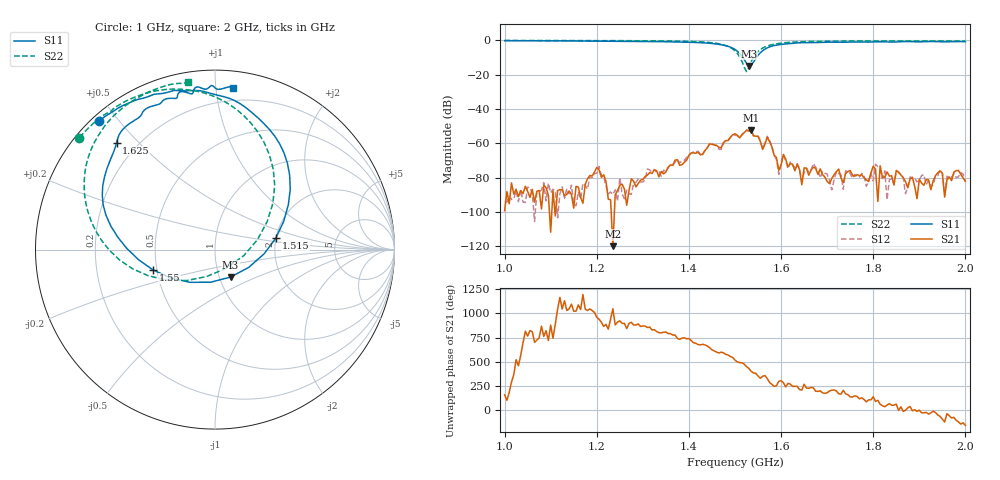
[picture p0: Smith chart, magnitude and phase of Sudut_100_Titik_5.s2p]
# Hz S RI R 50
! CMT, C1220, 16058040, 17.2.0/1
! Date: 14/08/2018 11:47:34
! Data: Format (Calibration Info)
! Freq  S11: Re/Im (F2)  S21: Re/Im (F2)  S12: Re/Im (F2)  S22: Re/Im (F2)
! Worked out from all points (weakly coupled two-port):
!   201 points, 1 GHz to 2 GHz, reference 50 ohm
!   highest |S21| = -52.36 dB at 1.535 GHz (marker M1); lowest = -119.9 dB at 1.235 GHz (marker M2)
!   lowest |S11| = -15.1 dB at 1.53 GHz (marker M3), VSWR 1.43, Z = 56.5 - j17.9 ohm
!   |S11| at or under -10 dB: 1.517 GHz to 1.547 GHz (29.85 MHz wide, 1.95 % of centre)
!   |S22| runs from -18.3 to -0.2 dB; largest |S21 - S12| = 0.00019
!   S11 on the Smith chart (normalised r, x): 1 GHz: 0.02, +0.44; 1.515 GHz: 2.00, +0.29; 1.55 GHz: 0.48, -0.12; 1.625 GHz: 0.13, +0.43; 2 GHz: 0.11, +1.11
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1e9  -0.647 0.7152  -1.02e-05 3.73e-06  1.99e-05 -4.15e-06  -0.7552 0.6244
1.17e9  -0.4664 0.8224  -7.62e-06 1.62e-05  6.38e-05 -2.36e-05  -0.6183 0.7508
1.205e9  -0.4184 0.839  -0.000129 -0.000106  -0.000174 -0.000121  -0.5819 0.7653
1.235e9  -0.3731 0.8522  8.62e-07 -5.27e-07  -3.22e-05 1.96e-06  -0.5563 0.7923
1.335e9  -0.2021 0.8855  1.63e-05 0.000104  5.79e-05 0.000136  -0.401 0.8659
1.45e9  0.1871 0.7788  -8.93e-05 -0.000926  -0.000131 -0.000957  0.0211 0.8413
1.5e9  0.4192 0.3357  -0.00176 0.000706  -0.0016 0.000682  0.3327 0.3567
1.515e9  0.3391 0.0641  -0.00113 0.00133  -0.00121 0.00135  0.2371 0.0561
1.53e9  0.0865 -0.1532  0.000652 0.00216  0.000661 0.00226  -0.0453 -0.1497
1.535e9  -0.0249 -0.1818  0.00177 0.00163  0.00183 0.00166  -0.1582 -0.1726
1.55e9  -0.3452 -0.1132  0.00158 -0.000172  0.00161 -5.78e-05  -0.4588 -0.1072
1.575e9  -0.6072 0.1908  0.000348 -0.00106  0.000299 -0.00118  -0.6916 0.1621
1.595e9  -0.6162 0.4032  7.72e-05 -0.000141  4.58e-05 -0.000114  -0.7286 0.3423
1.605e9  -0.5885 0.4866  0.000114 -0.000459  0.000117 -0.000458  -0.7264 0.4127
1.625e9  -0.5481 0.596  -9.99e-05 -0.000225  -6.27e-05 -0.000216  -0.704 0.5207
1.645e9  -0.5104 0.6732  -5.44e-05 -2.97e-05  -4.04e-05 -6.68e-05  -0.6702 0.6006
1.67e9  -0.4273 0.7336  -0.000123 -0.00016  -0.000154 -0.000204  -0.6263 0.6718
1.685e9  -0.4076 0.756  -0.000168 -6.3e-05  -8.9e-05 -4.29e-05  -0.602 0.7041
1.8e9  -0.2056 0.8683  -0.000162 0.00014  1.09e-05 7.86e-05  -0.4251 0.8494
1.805e9  -0.2003 0.8751  -3.99e-06 0.000176  0.000126 0.000211  -0.4181 0.8535
1.835e9  -0.1347 0.868  4.11e-05 0.000102  -8.96e-06 8.7e-05  -0.3779 0.8743
2e9  0.0978 0.9008  -7.21e-05 -3.06e-05  -6.54e-05 -3.94e-05  -0.1518 0.9342
